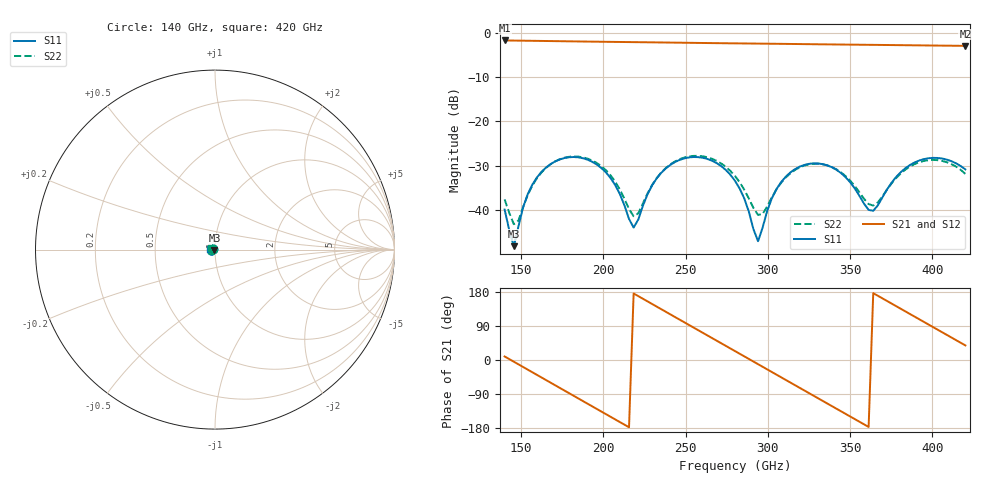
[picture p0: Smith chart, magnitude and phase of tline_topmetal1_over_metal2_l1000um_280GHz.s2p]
#  GHZ S DB R 50
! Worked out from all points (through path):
!   101 points, 140 GHz to 420 GHz, reference 50 ohm
!   highest |S21| = -1.73 dB at 140 GHz (marker M1); lowest = -2.9 dB at 420 GHz (marker M2)
!   group delay of S21, straight-line fit = 6.85 ps
!   lowest |S11| = -48.1 dB at 145.6 GHz (marker M3), VSWR 1.01, Z = 49.7 - j0.242 ohm
!   |S11| at or under -10 dB: start of sweep to end of sweep
!   |S22| runs from -43.2 to -27.8 dB; largest |S21 - S12| = 9.2e-14
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140  -39.86 159.6  -1.73 9.4  -1.73 9.4  -37.56 168.1
145.6  -48.12 -141.7  -1.76 -4.5  -1.76 -4.5  -43.17 -158.6
151.2  -39.40 -92.4  -1.78 -18.3  -1.78 -18.3  -39.35 -109.0
159.6  -32.65 -101.4  -1.82 -39.1  -1.82 -39.1  -32.82 -107.4
173.6  -28.55 -131.5  -1.90 -73.8  -1.90 -73.8  -28.51 -133.2
187.6  -28.29 -163.1  -1.97 -108.4  -1.97 -108.4  -28.09 -162.7
204.4  -32.75 163.9  -2.05 -149.9  -2.05 -149.9  -32.15 167.0
218.4  -43.93 -156.5  -2.11 175.6  -2.11 175.6  -41.37 -162.8
235.2  -31.57 -119.0  -2.18 134.0  -2.18 134.0  -31.50 -122.1
246.4  -28.66 -140.8  -2.23 106.4  -2.23 106.4  -28.50 -141.4
257.6  -28.04 -164.9  -2.29 78.7  -2.29 78.7  -27.75 -163.6
280  -33.38 150.1  -2.38 23.5  -2.38 23.5  -32.30 157.1
285.6  -37.33 144.4  -2.40 9.7  -2.40 9.7  -35.36 154.4
294  -47.00 -161.0  -2.44 -11.0  -2.44 -11.0  -41.07 -176.0
302.4  -37.33 -112.1  -2.47 -31.7  -2.47 -31.7  -37.11 -131.5
308  -33.69 -117.9  -2.49 -45.6  -2.49 -45.6  -33.84 -130.4
327.6  -29.45 -154.8  -2.58 -93.9  -2.58 -93.9  -29.54 -159.7
344.4  -31.63 175.5  -2.65 -135.3  -2.65 -135.3  -31.47 173.2
361.2  -39.95 -167.9  -2.71 -176.7  -2.71 -176.7  -38.62 -173.6
375.2  -33.78 -121.4  -2.77 148.8  -2.77 148.8  -33.94 -130.9
397.6  -28.29 -153.3  -2.86 93.6  -2.86 93.6  -28.72 -160.3
420  -30.80 171.2  -2.95 38.5  -2.95 38.5  -31.83 162.0
